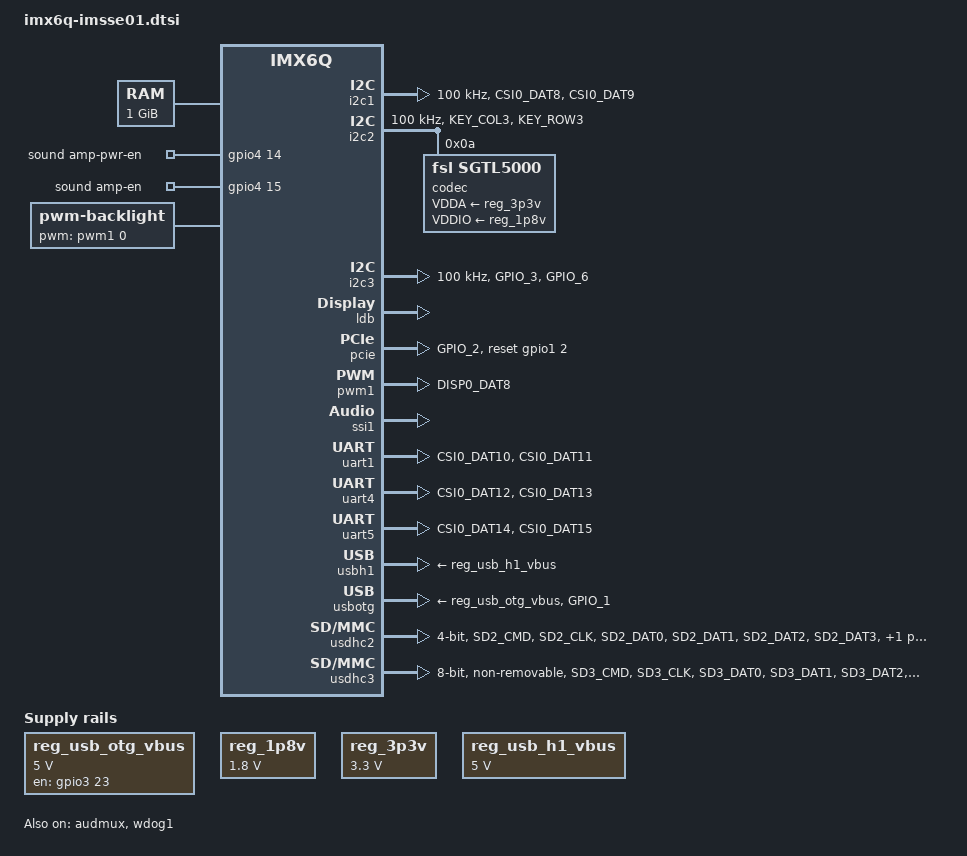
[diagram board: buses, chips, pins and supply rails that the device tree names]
/*
 * Copyright 2012-2016 Freescale Semiconductor, Inc.
 * Copyright 2011 Linaro Ltd.
 *
 * The code contained herein is licensed under the GNU General Public
 * License. You may obtain a copy of the GNU General Public License
 * Version 2 or later at the following locations:
 *
 * http://www.opensource.org/licenses/gpl-license.html
 * http://www.gnu.org/copyleft/gpl.html
 */

#include <dt-bindings/gpio/gpio.h>
#include <dt-bindings/input/input.h>

/ {
	aliases {
		mxcfb0 = &mxcfb1;
		mxcfb1 = &mxcfb2;
		mxcfb2 = &mxcfb3;
		mxcfb3 = &mxcfb4;
	};

	chosen {
		stdout-path = &uart1;
	};

	memory: memory {
		reg = <0x10000000 0x40000000>;
	};

	regulators {
		compatible = "simple-bus";
		#address-cells = <1>;
		#size-cells = <0>;

		reg_usb_otg_vbus: regulator@0 {
			compatible = "regulator-fixed";
			reg = <0>;
			regulator-name = "usb_otg_vbus";
			regulator-min-microvolt = <5000000>;
			regulator-max-microvolt = <5000000>;
			gpio = <&gpio3 23 0>;
			enable-active-high;
		};
		
		reg_1p8v: 1p8v {
			compatible = "regulator-fixed";
			regulator-name = "1P8V";
			regulator-min-microvolt = <1800000>;
			regulator-max-microvolt = <1800000>;
			regulator-always-on;
		};

		reg_3p3v: 3p3v {
			compatible = "regulator-fixed";
			regulator-name = "3P3V";
			regulator-min-microvolt = <3300000>;
			regulator-max-microvolt = <3300000>;
			regulator-always-on;
		};

		reg_usb_h1_vbus: regulator@1 {
			compatible = "regulator-fixed";
			reg = <1>;
			regulator-name = "usb_h1_vbus";
			regulator-min-microvolt = <5000000>;
			regulator-max-microvolt = <5000000>;
			regulator-always-on;
			enable-active-high;
		};
	};
	sound {
		compatible = "fsl,imx6q-se01-sgtl5000",
			     "fsl,imx-audio-sgtl5000";
		model = "imx6q-sgtl5000";
		ssi-controller = <&ssi1>;
		audio-codec = <&codec>;
		audio-routing =
			"MIC_IN", "Mic Jack",
            "Mic Jack", "Mic Bias",
            "Headphone Jack", "HP_OUT",
			"Ext Spk", "LINE_OUT",
			"LINE_IN", "Line In Jack";
		mux-int-port = <1>;
		mux-ext-port = <4>;
		amp-pwr-en-gpios = <&gpio4 14 0>;
		amp-en-gpios = <&gpio4 15 0>;
	};

	mxcfb1: fb@0 {
		compatible = "fsl,mxc_sdc_fb";
		disp_dev = "ldb";
		interface_pix_fmt = "RGB24"; //wendy
		default_bpp = <32>; //wendy
		int_clk = <0>;
		late_init = <0>;
		status = "okay"; //wendy
	};

	mxcfb2: fb@1 {
		compatible = "fsl,mxc_sdc_fb";
		disp_dev = "hdmi";
		interface_pix_fmt = "RGB24";
		mode_str ="1920x1080M@60";
		default_bpp = <24>;
		int_clk = <0>;
		late_init = <0>;
		status = "disabled";
	};

	mxcfb3: fb@2 {
		compatible = "fsl,mxc_sdc_fb";
		disp_dev = "lcd";
		interface_pix_fmt = "RGB565";
		mode_str ="CLAA-WVGA";
		default_bpp = <16>;
		int_clk = <0>;
		late_init = <0>;
		status = "disabled";
	};

	mxcfb4: fb@3 {
		compatible = "fsl,mxc_sdc_fb";
		disp_dev = "ldb";
		interface_pix_fmt = "RGB666";
		default_bpp = <16>;
		int_clk = <0>;
		late_init = <0>;
		status = "disabled";
	};

	lcd@0 {
		compatible = "fsl,lcd";
		ipu_id = <0>;
		disp_id = <0>;
		default_ifmt = "RGB565";
		pinctrl-names = "default";
		pinctrl-0 = <&pinctrl_ipu1>;
		status = "okay";
	};

	backlight {
		compatible = "pwm-backlight";
		pwms = <&pwm1 0 5000000>;
		brightness-levels = <0 4 8 16 32 64 128 255>;
		default-brightness-level = <7>;
		status = "okay";
	};
};

&audmux {
	pinctrl-names = "default";
	pinctrl-0 = <&pinctrl_audmux>;
	status = "okay";
};

&clks {
	fsl,ldb-di0-parent = <&clks IMX6QDL_CLK_PLL2_PFD0_352M>;
	fsl,ldb-di1-parent = <&clks IMX6QDL_CLK_PLL2_PFD0_352M>;
};

&gpc {
	fsl,ldo-bypass = <0>;
};

&i2c1 {
	clock-frequency = <100000>;
	pinctrl-names = "default";
	pinctrl-0 = <&pinctrl_i2c1>;
	status = "okay";
};

&i2c2 {
	clock-frequency = <100000>;
	pinctrl-names = "default";
	pinctrl-0 = <&pinctrl_i2c2>;
	status = "okay";
	
	codec: sgtl5000@0a {
		compatible = "fsl,sgtl5000";
		reg = <0x0a>;
		clocks = <&clks 201>;
		VDDA-supply = <&reg_3p3v>;
		VDDIO-supply = <&reg_1p8v>;
	};
	
};

&i2c3 {
	clock-frequency = <100000>;
	pinctrl-names = "default";
	pinctrl-0 = <&pinctrl_i2c3>;
	status = "okay";
};

&iomuxc {
	pinctrl-names = "default";
	pinctrl-0 = <&pinctrl_hog>;

	imx6q-imsse01 {
		pinctrl_hog: hoggrp {
			fsl,pins = <
				MX6QDL_PAD_GPIO_0__GPIO1_IO00   0x80000000
				MX6QDL_PAD_EIM_D23__GPIO3_IO23  0x80000000
				MX6QDL_PAD_KEY_COL4__GPIO4_IO14  0x80000000 // AMP_PWR_EN
				MX6QDL_PAD_KEY_ROW4__GPIO4_IO15  0x80000000 // AMP_EN
			>;
		};

		pinctrl_i2c1: i2c1grp {
			fsl,pins = <
				MX6QDL_PAD_CSI0_DAT8__I2C1_SDA		0x4001b8b1
				MX6QDL_PAD_CSI0_DAT9__I2C1_SCL		0x4001b8b1
			>;
		};

		pinctrl_i2c2: i2c2grp {
			fsl,pins = <
				MX6QDL_PAD_KEY_COL3__I2C2_SCL		0x4001b8b1
				MX6QDL_PAD_KEY_ROW3__I2C2_SDA		0x4001b8b1
			>;
		};

		pinctrl_i2c3: i2c3grp {
			fsl,pins = <
				MX6QDL_PAD_GPIO_3__I2C3_SCL		0x4001b8b1
				MX6QDL_PAD_GPIO_6__I2C3_SDA		0x4001b8b1
			>;
		};

		pinctrl_ipu1: ipu1grp {
			fsl,pins = <
				MX6QDL_PAD_DI0_DISP_CLK__IPU1_DI0_DISP_CLK 0x10
				MX6QDL_PAD_DI0_PIN15__IPU1_DI0_PIN15       0x10
				MX6QDL_PAD_DI0_PIN2__IPU1_DI0_PIN02        0x10
				MX6QDL_PAD_DI0_PIN3__IPU1_DI0_PIN03        0x10
				MX6QDL_PAD_DI0_PIN4__IPU1_DI0_PIN04        0x80000000
				MX6QDL_PAD_DISP0_DAT0__IPU1_DISP0_DATA00   0x10
				MX6QDL_PAD_DISP0_DAT1__IPU1_DISP0_DATA01   0x10
				MX6QDL_PAD_DISP0_DAT2__IPU1_DISP0_DATA02   0x10
				MX6QDL_PAD_DISP0_DAT3__IPU1_DISP0_DATA03   0x10
				MX6QDL_PAD_DISP0_DAT4__IPU1_DISP0_DATA04   0x10
				MX6QDL_PAD_DISP0_DAT5__IPU1_DISP0_DATA05   0x10
				MX6QDL_PAD_DISP0_DAT6__IPU1_DISP0_DATA06   0x10
				MX6QDL_PAD_DISP0_DAT7__IPU1_DISP0_DATA07   0x10
				MX6QDL_PAD_DISP0_DAT8__IPU1_DISP0_DATA08   0x10
				MX6QDL_PAD_DISP0_DAT9__IPU1_DISP0_DATA09   0x10
				MX6QDL_PAD_DISP0_DAT10__IPU1_DISP0_DATA10  0x10
				MX6QDL_PAD_DISP0_DAT11__IPU1_DISP0_DATA11  0x10
				MX6QDL_PAD_DISP0_DAT12__IPU1_DISP0_DATA12  0x10
				MX6QDL_PAD_DISP0_DAT13__IPU1_DISP0_DATA13  0x10
				MX6QDL_PAD_DISP0_DAT14__IPU1_DISP0_DATA14  0x10
				MX6QDL_PAD_DISP0_DAT15__IPU1_DISP0_DATA15  0x10
				MX6QDL_PAD_DISP0_DAT16__IPU1_DISP0_DATA16  0x10
				MX6QDL_PAD_DISP0_DAT17__IPU1_DISP0_DATA17  0x10
				MX6QDL_PAD_DISP0_DAT18__IPU1_DISP0_DATA18  0x10
				MX6QDL_PAD_DISP0_DAT19__IPU1_DISP0_DATA19  0x10
				MX6QDL_PAD_DISP0_DAT20__IPU1_DISP0_DATA20  0x10
				MX6QDL_PAD_DISP0_DAT21__IPU1_DISP0_DATA21  0x10
				MX6QDL_PAD_DISP0_DAT22__IPU1_DISP0_DATA22  0x10
				MX6QDL_PAD_DISP0_DAT23__IPU1_DISP0_DATA23  0x10
			>;
		};

		pinctrl_pcie: pciegrp {
			fsl,pins = <
				MX6QDL_PAD_GPIO_2__GPIO1_IO02	0x1b0b0
			>;
		};

		pinctrl_pwm1: pwm1grp {
			fsl,pins = <
				MX6QDL_PAD_DISP0_DAT8__PWM1_OUT		0x1b0b1
			>;
		};

		pinctrl_uart1: uart1grp {
			fsl,pins = <
				MX6QDL_PAD_CSI0_DAT10__UART1_TX_DATA	0x1b0b1
				MX6QDL_PAD_CSI0_DAT11__UART1_RX_DATA	0x1b0b1
			>;
		};

		pinctrl_uart4: uart4grp {
			fsl,pins = <
				MX6QDL_PAD_CSI0_DAT12__UART4_TX_DATA	0x1b0b1
				MX6QDL_PAD_CSI0_DAT13__UART4_RX_DATA	0x1b0b1
			>;
		};

		pinctrl_uart5: uart5grp {
			fsl,pins = <
				MX6QDL_PAD_CSI0_DAT14__UART5_TX_DATA	0x1b0b1
				MX6QDL_PAD_CSI0_DAT15__UART5_RX_DATA	0x1b0b1
			>;
		};

		pinctrl_usbotg: usbotggrp {
			fsl,pins = <
				MX6QDL_PAD_GPIO_1__USB_OTG_ID	0x17059
			>;
		};

		pinctrl_usdhc2: usdhc2grp {
			fsl,pins = <
				MX6QDL_PAD_SD2_CMD__SD2_CMD		0x17059
				MX6QDL_PAD_SD2_CLK__SD2_CLK		0x10059
				MX6QDL_PAD_SD2_DAT0__SD2_DATA0		0x17059
				MX6QDL_PAD_SD2_DAT1__SD2_DATA1		0x17059
				MX6QDL_PAD_SD2_DAT2__SD2_DATA2		0x17059
				MX6QDL_PAD_SD2_DAT3__SD2_DATA3		0x17059
			>;
		};

		pinctrl_usdhc3: usdhc3grp {
			fsl,pins = <
				MX6QDL_PAD_SD3_CMD__SD3_CMD		0x17059
				MX6QDL_PAD_SD3_CLK__SD3_CLK		0x10059
				MX6QDL_PAD_SD3_DAT0__SD3_DATA0		0x17059
				MX6QDL_PAD_SD3_DAT1__SD3_DATA1		0x17059
				MX6QDL_PAD_SD3_DAT2__SD3_DATA2		0x17059
				MX6QDL_PAD_SD3_DAT3__SD3_DATA3		0x17059
				MX6QDL_PAD_SD3_DAT4__SD3_DATA4		0x17059
				MX6QDL_PAD_SD3_DAT5__SD3_DATA5		0x17059
				MX6QDL_PAD_SD3_DAT6__SD3_DATA6		0x17059
				MX6QDL_PAD_SD3_DAT7__SD3_DATA7		0x17059
			>;
		};
		
		pinctrl_audmux: audmuxgrp {
			fsl,pins = <
				MX6QDL_PAD_DISP0_DAT20__AUD4_TXC  0x130b0
				MX6QDL_PAD_DISP0_DAT21__AUD4_TXD  0x130b0
				MX6QDL_PAD_DISP0_DAT22__AUD4_TXFS  0x130b0
				MX6QDL_PAD_DISP0_DAT23__AUD4_RXD  0x130b0
				MX6QDL_PAD_NANDF_CS2__CCM_CLKO2		0x130b0 // AUDIO_CLK

				
			>;
		};
	

		pinctrl_wdog: wdoggrp {
			fsl,pins = <
				MX6QDL_PAD_GPIO_9__WDOG1_B 0x80000000
			>;
		};
	};
};

&ldb {
	status = "okay";

	lvds-channel@0 {
		fsl,data-mapping = "spwg";
		fsl,data-width = <24>;
		primary;
		status = "okay";

		display-timings {
			native-mode = <&timing0>;
			timing0: hsd100pxn1 {
				clock-frequency = <68200000>;
				hactive = <1280>;
				vactive = <800>;
				hback-porch = <5>;
				hfront-porch = <64>;
				vback-porch = <2>;
				vfront-porch = <40>;
				hsync-len = <1>;
				vsync-len = <1>;
			};
		};
	};

	lvds-channel@1 {
		fsl,data-mapping = "spwg";
		fsl,data-width = <18>;
		status = "disabled";

		display-timings {
			native-mode = <&timing1>;
			timing1: hsd100pxn1 {
				clock-frequency = <65000000>;
				hactive = <1024>;
				vactive = <768>;
				hback-porch = <220>;
				hfront-porch = <40>;
				vback-porch = <21>;
				vfront-porch = <7>;
				hsync-len = <60>;
				vsync-len = <10>;
			};
		};
	};
};

&pcie {
	pinctrl-names = "default";
	pinctrl-0 = <&pinctrl_pcie>;
	reset-gpio = <&gpio1 2 0>;
	status = "okay";
};

&pwm1 {
	pinctrl-names = "default";
	pinctrl-0 = <&pinctrl_pwm1>;
	status = "okay";
};

&snvs_poweroff {
	status = "okay";
};

&ssi1 {
	fsl,mode = "i2s-slave";
	status = "okay";
};

&uart1 {
	pinctrl-names = "default";
	pinctrl-0 = <&pinctrl_uart1>;
	status = "okay";
};

&uart4 {
	pinctrl-names = "default";
	pinctrl-0 = <&pinctrl_uart4>;
	status = "okay";
};

&uart5 {
	pinctrl-names = "default";
	pinctrl-0 = <&pinctrl_uart5>;
	status = "okay";
};

&usbh1 {
	vbus-supply = <&reg_usb_h1_vbus>;
	status = "okay";
};

&usbotg {
	vbus-supply = <&reg_usb_otg_vbus>;
	pinctrl-names = "default";
	pinctrl-0 = <&pinctrl_usbotg>;
	disable-over-current;
	srp-disable;
	hnp-disable;
	adp-disable;
	status = "okay";
};

&usbphy1 {
	tx-d-cal = <0x5>;
};

&usbphy2 {
	tx-d-cal = <0x5>;
};

&usdhc2 {
	pinctrl-names = "default";
	pinctrl-0 = <&pinctrl_usdhc2>;
	bus-width = <4>;
	cd-gpios = <&gpio1 4 GPIO_ACTIVE_LOW>;
	no-1-8-v;
	keep-power-in-suspend;
	enable-sdio-wakeup;
	status = "okay";
};

&usdhc3 {
	pinctrl-names = "default";
	pinctrl-0 = <&pinctrl_usdhc3>;
	bus-width = <8>;
	non-removable;
	no-1-8-v;
	keep-power-in-suspend;
	status = "okay";
};

&wdog1 {
	pinctrl-names = "default";
	pinctrl-0 = <&pinctrl_wdog>;
	fsl,wdog_b;
	status = "okay";
};

&wdog2 {
	status = "disabled";
};

